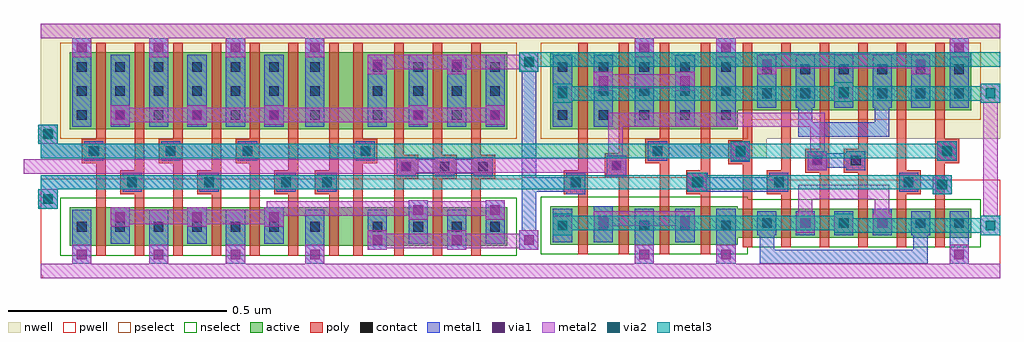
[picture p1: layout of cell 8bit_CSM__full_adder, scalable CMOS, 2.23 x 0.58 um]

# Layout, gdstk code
import gdstk
lib = gdstk.Library(unit=1e-6, precision=1e-11)
def R(c, l, rs):  # rectangles x0, y0, x1, y1
    for r in rs: c.add(gdstk.rectangle(r[:2], r[2:], *l))
def A(c, l, x, y, w, h, nx, ny, dx, dy):  # array of equal rectangles
    R(c, l, [(x+i*dx, y+j*dy, x+i*dx+w, y+j*dy+h) for i in range(nx) for j in range(ny)])
contact = (25, 0)
pwell = (41, 0)
nwell = (42, 0)
active = (43, 0)
pselect = (44, 0)
nselect = (45, 0)
poly = (46, 0)
metal1 = (49, 0)
via1 = (50, 0)
metal2 = (51, 0)
via2 = (61, 0)
metal3 = (62, 0)

c_8bit_csm__full_adder = lib.new_cell('8bit_CSM__full_adder')
A(c_8bit_csm__full_adder, contact, -0.572, -0.1787, 0.022, 0.022, 6, 2, 0.088, 0.2557)
A(c_8bit_csm__full_adder, contact, 0.198, -0.1787, 0.022, 0.022, 3, 2, 0.088, 0.2557)
A(c_8bit_csm__full_adder, contact, 0.528, -0.176, 0.022, 0.022, 5, 2, 0.0935, 0.253)
A(c_8bit_csm__full_adder, contact, 0.9955, -0.1705, 0.022, 0.022, 6, 2, 0.088, 0.297)
A(c_8bit_csm__full_adder, contact, -0.4565, -0.077, 0.022, 0.022, 3, 1, 0.176, 0)
A(c_8bit_csm__full_adder, contact, 0.1705, -0.0412, 0.022, 0.022, 3, 1, 0.088, 0)
A(c_8bit_csm__full_adder, contact, -0.5445, -0.0055, 0.022, 0.022, 3, 1, 0.176, 0)
A(c_8bit_csm__full_adder, contact, -0.0385, 0.077, 0.022, 0.022, 1, 3, 0, 0.055)
A(c_8bit_csm__full_adder, contact, 0.1045, 0.077, 0.022, 0.022, 1, 3, 0, 0.055)
A(c_8bit_csm__full_adder, contact, -0.572, 0.132, 0.022, 0.022, 6, 2, 0.088, 0.055)
A(c_8bit_csm__full_adder, contact, 0.198, 0.132, 0.022, 0.022, 3, 2, 0.088, 0.055)
A(c_8bit_csm__full_adder, contact, 0.528, 0.132, 0.022, 0.022, 5, 2, 0.0935, 0.055)
A(c_8bit_csm__full_adder, contact, 0.9955, 0.1815, 0.022, 0.022, 6, 1, 0.088, 0)
R(c_8bit_csm__full_adder, contact, [(-0.0385,-0.1787,-0.0165,-0.1567), (0.1045,-0.1787,0.1265,-0.1567), (-0.011,-0.077,0.011,-0.055), (0.5582,-0.077,0.5802,-0.055), (0.8387,-0.077,0.8607,-0.055), (1.023,-0.077,1.045,-0.055), (1.32,-0.077,1.342,-0.055), (0.6517,-0.0385,0.6737,-0.0165), (1.111,-0.0275,1.133,-0.0055), (1.199,-0.0275,1.221,-0.0055), (0.935,-0.0082,0.957,0.0137), (0.077,-0.0055,0.099,0.0165), (0.7452,-0.0055,0.7672,0.0165), (1.408,-0.0055,1.43,0.0165)])
A(c_8bit_csm__full_adder, pwell, -0.6545, -0.2777, 0.187, 0.22, 6, 1, 0.088, 0)
A(c_8bit_csm__full_adder, pwell, -0.627, -0.2777, 0.22, 0.22, 6, 1, 0.088, 0)
A(c_8bit_csm__full_adder, pwell, 0.055, -0.2777, 0.22, 0.22, 3, 1, 0.088, 0)
A(c_8bit_csm__full_adder, pwell, 0.1155, -0.2777, 0.187, 0.22, 3, 1, 0.088, 0)
A(c_8bit_csm__full_adder, pwell, 0.4455, -0.275, 0.187, 0.22, 5, 1, 0.0935, 0)
A(c_8bit_csm__full_adder, pwell, 0.4757, -0.275, 0.22, 0.22, 4, 1, 0.0935, 0)
A(c_8bit_csm__full_adder, pwell, -0.5582, -0.2585, 0.1732, 0.165, 4, 1, 0.088, 0)
A(c_8bit_csm__full_adder, pwell, 0.8525, -0.2585, 0.22, 0.198, 6, 1, 0.088, 0)
A(c_8bit_csm__full_adder, pwell, 0.913, -0.2585, 0.187, 0.198, 6, 1, 0.088, 0)
A(c_8bit_csm__full_adder, pwell, 1.1852, -0.253, 0.1732, 0.165, 3, 1, 0.088, 0)
A(c_8bit_csm__full_adder, pwell, 0.55, -0.2475, 0.1705, 0.165, 3, 1, 0.0935, 0)
A(c_8bit_csm__full_adder, pwell, 0.638, -0.2475, 0.176, 0.165, 3, 1, 0.0935, 0)
R(c_8bit_csm__full_adder, pwell, [(-0.6517,-0.286,1.54,-0.264), (-0.121,-0.2777,0.066,-0.0577), (-0.0935,-0.2777,0.1265,-0.0577), (-0.0385,-0.2777,0.1815,-0.0577), (0.022,-0.2777,0.209,-0.0577), (-0.6517,-0.275,1.54,-0.253), (-0.6407,-0.2585,-0.473,-0.0935), (-0.5527,-0.2585,-0.385,-0.0935), (-0.4675,-0.2585,-0.2997,-0.0935), (-0.3767,-0.2585,-0.209,-0.0935), (-0.2915,-0.2585,-0.1237,-0.0935), (-0.2887,-0.2585,-0.121,-0.0935), (-0.2062,-0.2585,-0.0385,-0.0935), (-0.2035,-0.2585,-0.0357,-0.0935), (-0.1182,-0.2585,0.0495,-0.0935), (-0.11,-0.2585,0.0577,-0.0935), (-0.0522,-0.2585,0.1402,-0.0935), (0.0302,-0.2585,0.198,-0.0935), (0.033,-0.2557,0.2062,-0.0907), (0.924,-0.253,1.0917,-0.088), (1.0092,-0.253,1.1825,-0.088), (1.188,-0.253,1.3557,-0.088), (1.276,-0.253,1.4437,-0.088), (0.2997,-0.2502,0.4702,-0.0852), (0.451,-0.2475,0.627,-0.0825), (0.5445,-0.2475,0.715,-0.0825), (1.0972,-0.242,1.2705,-0.077), (1.1027,-0.242,1.2705,-0.077), (0.121,-0.2392,0.2887,-0.0742), (0.1265,-0.2392,0.2942,-0.0742), (0.209,-0.2392,0.3767,-0.0742), (0.2145,-0.2392,0.3822,-0.0742), (1.0092,-0.2365,1.1797,-0.0715), (0.8305,-0.231,1.0037,-0.066), (0.9212,-0.231,1.0945,-0.066)])
A(c_8bit_csm__full_adder, nwell, -0.6545, -0.011, 0.187, 0.308, 6, 1, 0.088, 0)
A(c_8bit_csm__full_adder, nwell, -0.627, -0.011, 0.22, 0.308, 6, 1, 0.088, 0)
A(c_8bit_csm__full_adder, nwell, 0.055, -0.011, 0.22, 0.308, 3, 1, 0.088, 0)
A(c_8bit_csm__full_adder, nwell, 0.1155, -0.011, 0.187, 0.308, 3, 1, 0.088, 0)
A(c_8bit_csm__full_adder, nwell, 0.4455, -0.011, 0.187, 0.308, 5, 1, 0.0935, 0)
A(c_8bit_csm__full_adder, nwell, 0.4757, -0.011, 0.22, 0.308, 4, 1, 0.0935, 0)
A(c_8bit_csm__full_adder, nwell, 0.8525, 0.033, 0.22, 0.264, 6, 1, 0.088, 0)
A(c_8bit_csm__full_adder, nwell, 0.913, 0.033, 0.187, 0.264, 6, 1, 0.088, 0)
A(c_8bit_csm__full_adder, nwell, 0.638, 0.055, 0.176, 0.165, 3, 1, 0.0935, 0)
A(c_8bit_csm__full_adder, nwell, 1.0972, 0.0825, 0.1732, 0.165, 4, 1, 0.088, 0)
R(c_8bit_csm__full_adder, nwell, [(-0.121,-0.011,0.066,0.297), (-0.0935,-0.011,0.1265,0.297), (-0.0385,-0.011,0.1815,0.297), (0.022,-0.011,0.209,0.297), (-0.6407,0.044,-0.473,0.209), (-0.561,0.044,-0.3932,0.209), (-0.5527,0.044,-0.385,0.209), (-0.473,0.044,-0.3052,0.209), (-0.4647,0.044,-0.297,0.209), (-0.385,0.044,-0.2172,0.209), (-0.3767,0.044,-0.209,0.209), (-0.2887,0.044,-0.121,0.209), (-0.209,0.044,-0.0412,0.209), (-0.2007,0.044,-0.033,0.209), (0.1237,0.044,0.2915,0.209), (0.1292,0.044,0.297,0.209), (0.2117,0.044,0.3795,0.209), (0.2145,0.044,0.3822,0.209), (0.2997,0.044,0.4675,0.209), (-0.2942,0.0495,-0.1265,0.2145), (0.55,0.055,0.7205,0.22), (0.649,0.055,0.814,0.22), (0.7425,0.055,0.9075,0.22), (0.8305,0.055,1.0037,0.22), (-0.1182,0.0605,0.0495,0.2255), (-0.11,0.0605,0.0577,0.2255), (0.0275,0.0605,0.1952,0.2255), (0.033,0.0605,0.2062,0.2255), (0.451,0.0605,0.627,0.2255), (0.5445,0.0605,0.715,0.2255), (-0.0522,0.066,0.1402,0.231), (0.9212,0.0825,1.0945,0.2475), (0.924,0.0825,1.0917,0.2475), (1.0092,0.0825,1.177,0.2475), (1.012,0.0825,1.1797,0.2475), (1.188,0.0825,1.3557,0.2475), (1.2787,0.0825,1.4465,0.2475), (1.0972,0.099,1.2677,0.264)])
A(c_8bit_csm__full_adder, active, -0.5885, -0.2117, 0.055, 0.088, 6, 1, 0.088, 0)
A(c_8bit_csm__full_adder, active, -0.561, -0.2117, 0.088, 0.088, 6, 1, 0.088, 0)
A(c_8bit_csm__full_adder, active, 0.121, -0.2117, 0.088, 0.088, 3, 1, 0.088, 0)
A(c_8bit_csm__full_adder, active, 0.1815, -0.2117, 0.055, 0.088, 3, 1, 0.088, 0)
A(c_8bit_csm__full_adder, active, 0.5115, -0.209, 0.055, 0.088, 5, 1, 0.0935, 0)
A(c_8bit_csm__full_adder, active, 0.5417, -0.209, 0.088, 0.088, 4, 1, 0.0935, 0)
A(c_8bit_csm__full_adder, active, -0.4922, -0.1925, 0.0412, 0.033, 4, 1, 0.088, 0)
A(c_8bit_csm__full_adder, active, 0.9185, -0.1925, 0.088, 0.066, 6, 1, 0.088, 0)
A(c_8bit_csm__full_adder, active, 0.979, -0.1925, 0.055, 0.066, 6, 1, 0.088, 0)
A(c_8bit_csm__full_adder, active, 1.2512, -0.187, 0.0412, 0.033, 3, 1, 0.088, 0)
A(c_8bit_csm__full_adder, active, 0.616, -0.1815, 0.0385, 0.033, 3, 1, 0.0935, 0)
A(c_8bit_csm__full_adder, active, 0.704, -0.1815, 0.044, 0.033, 3, 2, 0.0935, 0.3025)
A(c_8bit_csm__full_adder, active, -0.5885, 0.055, 0.055, 0.176, 6, 1, 0.088, 0)
A(c_8bit_csm__full_adder, active, -0.561, 0.055, 0.088, 0.176, 6, 1, 0.088, 0)
A(c_8bit_csm__full_adder, active, 0.121, 0.055, 0.088, 0.176, 3, 1, 0.088, 0)
A(c_8bit_csm__full_adder, active, 0.1815, 0.055, 0.055, 0.176, 3, 1, 0.088, 0)
A(c_8bit_csm__full_adder, active, 0.5115, 0.055, 0.055, 0.176, 5, 1, 0.0935, 0)
A(c_8bit_csm__full_adder, active, 0.5417, 0.055, 0.088, 0.176, 4, 1, 0.0935, 0)
A(c_8bit_csm__full_adder, active, 0.9185, 0.099, 0.088, 0.132, 6, 1, 0.088, 0)
A(c_8bit_csm__full_adder, active, 0.979, 0.099, 0.055, 0.132, 6, 1, 0.088, 0)
A(c_8bit_csm__full_adder, active, 1.1632, 0.1485, 0.0412, 0.033, 4, 1, 0.088, 0)
R(c_8bit_csm__full_adder, active, [(-0.055,-0.2117,0,-0.1237), (-0.0275,-0.2117,0.0605,-0.1237), (0.0275,-0.2117,0.1155,-0.1237), (0.088,-0.2117,0.143,-0.1237), (-0.5747,-0.1925,-0.539,-0.1595), (-0.4867,-0.1925,-0.451,-0.1595), (-0.4015,-0.1925,-0.3657,-0.1595), (-0.3107,-0.1925,-0.275,-0.1595), (-0.2255,-0.1925,-0.1897,-0.1595), (-0.2227,-0.1925,-0.187,-0.1595), (-0.1402,-0.1925,-0.1045,-0.1595), (-0.1375,-0.1925,-0.1017,-0.1595), (-0.0522,-0.1925,-0.0165,-0.1595), (-0.044,-0.1925,-0.0082,-0.1595), (0.0137,-0.1925,0.0742,-0.1595), (0.0962,-0.1925,0.132,-0.1595), (0.099,-0.1897,0.1402,-0.1567), (0.99,-0.187,1.0257,-0.154), (1.0752,-0.187,1.1165,-0.154), (1.254,-0.187,1.2897,-0.154), (1.342,-0.187,1.3777,-0.154), (0.3657,-0.1842,0.4042,-0.1512), (0.517,-0.1815,0.561,-0.1485), (0.6105,-0.1815,0.649,-0.1485), (1.1632,-0.176,1.2045,-0.143), (1.1687,-0.176,1.2045,-0.143), (0.187,-0.1732,0.2227,-0.1402), (0.1925,-0.1732,0.2282,-0.1402), (0.275,-0.1732,0.3107,-0.1402), (0.2805,-0.1732,0.3162,-0.1402), (1.0752,-0.1705,1.1137,-0.1375), (0.8965,-0.165,0.9377,-0.132), (0.9872,-0.165,1.0285,-0.132), (-0.055,0.055,0,0.231), (-0.0275,0.055,0.0605,0.231), (0.0275,0.055,0.1155,0.231), (0.088,0.055,0.143,0.231), (-0.5747,0.11,-0.539,0.143), (-0.495,0.11,-0.4592,0.143), (-0.4867,0.11,-0.451,0.143), (-0.407,0.11,-0.3712,0.143), (-0.3987,0.11,-0.363,0.143), (-0.319,0.11,-0.2833,0.143), (-0.3107,0.11,-0.275,0.143), (-0.2227,0.11,-0.187,0.143), (-0.143,0.11,-0.1072,0.143), (-0.1347,0.11,-0.099,0.143), (0.1897,0.11,0.2255,0.143), (0.1952,0.11,0.231,0.143), (0.2777,0.11,0.3135,0.143), (0.2805,0.11,0.3162,0.143), (0.3657,0.11,0.4015,0.143), (-0.2282,0.1155,-0.1925,0.1485), (0.616,0.121,0.6545,0.154), (0.715,0.121,0.748,0.154), (0.8085,0.121,0.8415,0.154), (0.8965,0.121,0.9377,0.154), (-0.0522,0.1265,-0.0165,0.1595), (-0.044,0.1265,-0.0082,0.1595), (0.0935,0.1265,0.1292,0.1595), (0.099,0.1265,0.1402,0.1595), (0.517,0.1265,0.561,0.1595), (0.6105,0.1265,0.649,0.1595), (0.0137,0.132,0.0742,0.165), (0.9872,0.1485,1.0285,0.1815), (0.99,0.1485,1.0257,0.1815), (1.0752,0.1485,1.111,0.1815), (1.078,0.1485,1.1137,0.1815), (1.254,0.1485,1.2897,0.1815), (1.3447,0.1485,1.3805,0.1815), (1.1632,0.165,1.2017,0.198)])
A(c_8bit_csm__full_adder, pselect, -0.6105, 0.033, 0.099, 0.22, 6, 1, 0.088, 0)
A(c_8bit_csm__full_adder, pselect, -0.583, 0.033, 0.132, 0.22, 6, 1, 0.088, 0)
A(c_8bit_csm__full_adder, pselect, 0.099, 0.033, 0.132, 0.22, 3, 1, 0.088, 0)
A(c_8bit_csm__full_adder, pselect, 0.1595, 0.033, 0.099, 0.22, 3, 1, 0.088, 0)
A(c_8bit_csm__full_adder, pselect, 0.4895, 0.033, 0.099, 0.22, 5, 1, 0.0935, 0)
A(c_8bit_csm__full_adder, pselect, 0.5197, 0.033, 0.132, 0.22, 4, 1, 0.0935, 0)
A(c_8bit_csm__full_adder, pselect, 0.8965, 0.077, 0.132, 0.176, 6, 1, 0.088, 0)
A(c_8bit_csm__full_adder, pselect, 0.957, 0.077, 0.099, 0.176, 6, 1, 0.088, 0)
A(c_8bit_csm__full_adder, pselect, 0.682, 0.099, 0.088, 0.077, 3, 1, 0.0935, 0)
A(c_8bit_csm__full_adder, pselect, 1.1412, 0.1265, 0.0852, 0.077, 4, 1, 0.088, 0)
R(c_8bit_csm__full_adder, pselect, [(-0.077,0.033,0.022,0.253), (-0.0495,0.033,0.0825,0.253), (0.0055,0.033,0.1375,0.253), (0.066,0.033,0.165,0.253), (-0.5968,0.088,-0.517,0.165), (-0.517,0.088,-0.4372,0.165), (-0.5087,0.088,-0.429,0.165), (-0.429,0.088,-0.3492,0.165), (-0.4207,0.088,-0.341,0.165), (-0.341,0.088,-0.2612,0.165), (-0.3327,0.088,-0.253,0.165), (-0.2447,0.088,-0.165,0.165), (-0.165,0.088,-0.0852,0.165), (-0.1567,0.088,-0.077,0.165), (0.1677,0.088,0.2475,0.165), (0.1732,0.088,0.253,0.165), (0.2557,0.088,0.3355,0.165), (0.2585,0.088,0.3382,0.165), (0.3437,0.088,0.4235,0.165), (-0.2502,0.0935,-0.1705,0.1705), (0.594,0.099,0.6765,0.176), (0.693,0.099,0.77,0.176), (0.7865,0.099,0.8635,0.176), (0.8745,0.099,0.9597,0.176), (-0.0742,0.1045,0.0055,0.1815), (-0.066,0.1045,0.0137,0.1815), (0.0715,0.1045,0.1512,0.1815), (0.077,0.1045,0.1622,0.1815), (0.495,0.1045,0.583,0.1815), (0.5885,0.1045,0.671,0.1815), (-0.0082,0.11,0.0962,0.187), (0.9652,0.1265,1.0505,0.2035), (0.968,0.1265,1.0477,0.2035), (1.0532,0.1265,1.133,0.2035), (1.056,0.1265,1.1357,0.2035), (1.232,0.1265,1.3117,0.2035), (1.3227,0.1265,1.4025,0.2035), (1.1412,0.143,1.2237,0.22)])
A(c_8bit_csm__full_adder, nselect, -0.6105, -0.2337, 0.099, 0.132, 6, 1, 0.088, 0)
A(c_8bit_csm__full_adder, nselect, -0.583, -0.2337, 0.132, 0.132, 6, 1, 0.088, 0)
A(c_8bit_csm__full_adder, nselect, 0.099, -0.2337, 0.132, 0.132, 3, 1, 0.088, 0)
A(c_8bit_csm__full_adder, nselect, 0.1595, -0.2337, 0.099, 0.132, 3, 1, 0.088, 0)
A(c_8bit_csm__full_adder, nselect, 0.4895, -0.231, 0.099, 0.132, 5, 1, 0.0935, 0)
A(c_8bit_csm__full_adder, nselect, 0.5197, -0.231, 0.132, 0.132, 4, 1, 0.0935, 0)
A(c_8bit_csm__full_adder, nselect, -0.5142, -0.2145, 0.0852, 0.077, 4, 1, 0.088, 0)
A(c_8bit_csm__full_adder, nselect, 0.8965, -0.2145, 0.132, 0.11, 6, 1, 0.088, 0)
A(c_8bit_csm__full_adder, nselect, 0.957, -0.2145, 0.099, 0.11, 6, 1, 0.088, 0)
A(c_8bit_csm__full_adder, nselect, 1.2292, -0.209, 0.0852, 0.077, 3, 1, 0.088, 0)
A(c_8bit_csm__full_adder, nselect, 0.594, -0.2035, 0.0825, 0.077, 3, 1, 0.0935, 0)
A(c_8bit_csm__full_adder, nselect, 0.682, -0.2035, 0.088, 0.077, 3, 1, 0.0935, 0)
R(c_8bit_csm__full_adder, nselect, [(-0.077,-0.2337,0.022,-0.1017), (-0.0495,-0.2337,0.0825,-0.1017), (0.0055,-0.2337,0.1375,-0.1017), (0.066,-0.2337,0.165,-0.1017), (-0.5968,-0.2145,-0.517,-0.1375), (-0.5087,-0.2145,-0.429,-0.1375), (-0.4235,-0.2145,-0.3437,-0.1375), (-0.3327,-0.2145,-0.253,-0.1375), (-0.2475,-0.2145,-0.1677,-0.1375), (-0.2447,-0.2145,-0.165,-0.1375), (-0.1622,-0.2145,-0.0825,-0.1375), (-0.1595,-0.2145,-0.0797,-0.1375), (-0.0742,-0.2145,0.0055,-0.1375), (-0.066,-0.2145,0.0137,-0.1375), (-0.0082,-0.2145,0.0962,-0.1375), (0.0742,-0.2145,0.154,-0.1375), (0.077,-0.2117,0.1622,-0.1347), (0.968,-0.209,1.0477,-0.132), (1.0532,-0.209,1.1385,-0.132), (1.232,-0.209,1.3117,-0.132), (1.32,-0.209,1.3997,-0.132), (0.3437,-0.2062,0.4262,-0.1292), (0.495,-0.2035,0.583,-0.1265), (0.5885,-0.2035,0.671,-0.1265), (1.1412,-0.198,1.2265,-0.121), (1.1467,-0.198,1.2265,-0.121), (0.165,-0.1952,0.2447,-0.1182), (0.1705,-0.1952,0.2502,-0.1182), (0.253,-0.1952,0.3327,-0.1182), (0.2585,-0.1952,0.3382,-0.1182), (1.0532,-0.1925,1.1357,-0.1155), (0.8745,-0.187,0.9597,-0.11), (0.9652,-0.187,1.0505,-0.11)])
A(c_8bit_csm__full_adder, poly, -0.528, -0.2337, 0.022, 0.132, 6, 1, 0.088, 0)
A(c_8bit_csm__full_adder, poly, 0.154, -0.2337, 0.022, 0.132, 3, 1, 0.088, 0)
A(c_8bit_csm__full_adder, poly, 0.5747, -0.231, 0.022, 0.132, 4, 1, 0.0935, 0)
A(c_8bit_csm__full_adder, poly, 0.9515, -0.2145, 0.022, 0.11, 6, 1, 0.088, 0)
A(c_8bit_csm__full_adder, poly, -0.528, -0.1127, 0.022, 0.1237, 3, 1, 0.176, 0)
A(c_8bit_csm__full_adder, poly, -0.473, -0.0935, 0.055, 0.055, 3, 1, 0.176, 0)
A(c_8bit_csm__full_adder, poly, 0.154, -0.0577, 0.055, 0.055, 3, 1, 0.088, 0)
A(c_8bit_csm__full_adder, poly, -0.561, -0.022, 0.055, 0.055, 3, 1, 0.176, 0)
A(c_8bit_csm__full_adder, poly, -0.55, -0.011, 0.044, 0.022, 3, 1, 0.176, 0)
A(c_8bit_csm__full_adder, poly, -0.528, -0.011, 0.022, 0.055, 3, 1, 0.176, 0)
A(c_8bit_csm__full_adder, poly, -0.528, 0.033, 0.022, 0.22, 6, 1, 0.088, 0)
A(c_8bit_csm__full_adder, poly, 0.154, 0.033, 0.022, 0.22, 3, 1, 0.088, 0)
A(c_8bit_csm__full_adder, poly, 0.5747, 0.033, 0.022, 0.22, 4, 1, 0.0935, 0)
A(c_8bit_csm__full_adder, poly, 0.9515, 0.077, 0.022, 0.176, 6, 1, 0.088, 0)
R(c_8bit_csm__full_adder, poly, [(0.0055,-0.2337,0.0275,-0.1017), (0.0605,-0.2337,0.0825,-0.1017), (0.9515,-0.1155,0.9735,0.011), (1.0395,-0.1155,1.0615,-0.055), (1.1275,-0.1155,1.1495,-0.0055), (1.2155,-0.1155,1.2375,-0.0055), (1.3035,-0.1155,1.3255,-0.0605), (1.3915,-0.1155,1.4135,0.011), (-0.44,-0.1127,-0.418,-0.055), (-0.264,-0.1127,-0.242,-0.055), (-0.088,-0.1127,-0.066,-0.0577), (0.0055,-0.1127,0.0275,-0.055), (0.0605,-0.1127,0.0825,0.011), (0.154,-0.1127,0.176,-0.0165), (0.242,-0.1127,0.264,-0.0137), (0.33,-0.1127,0.352,-0.0165), (0.5747,-0.11,0.5968,-0.055), (0.6682,-0.11,0.6902,-0.0165), (0.7617,-0.11,0.7837,0.0165), (0.8552,-0.11,0.8772,-0.055), (-0.0275,-0.0935,0.0275,-0.0385), (0.5417,-0.0935,0.5968,-0.0385), (0.8222,-0.0935,0.8772,-0.0385), (1.0065,-0.0935,1.0615,-0.0385), (1.3035,-0.0935,1.3585,-0.0385), (1.3035,-0.0825,1.3447,-0.0605), (1.3035,-0.0825,1.3255,0.088), (-0.11,-0.0797,-0.066,-0.0577), (-0.088,-0.0797,-0.066,0.044), (-0.4565,-0.077,-0.418,-0.055), (-0.44,-0.077,-0.418,0.044), (-0.286,-0.077,-0.242,-0.055), (-0.264,-0.077,-0.242,0.044), (-0.0165,-0.077,0.0275,-0.055), (0.0055,-0.077,0.0275,0.044), (0.5555,-0.077,0.5968,-0.055), (0.5747,-0.077,0.5968,0.044), (0.8332,-0.077,0.8772,-0.055), (0.8552,-0.077,0.8772,0.044), (1.0175,-0.077,1.0615,-0.055), (1.0395,-0.077,1.0615,0.088), (0.6352,-0.055,0.6902,0), (1.0945,-0.044,1.1495,0.011), (1.1825,-0.044,1.2375,0.011), (0.154,-0.0385,0.176,0.044), (0.154,-0.0385,0.187,-0.0165), (0.33,-0.0385,0.352,0.044), (0.33,-0.0385,0.374,-0.0165), (0.6462,-0.0385,0.6902,-0.0165), (0.6682,-0.0385,0.6902,0.044), (0.242,-0.0357,0.264,0.044), (0.242,-0.0357,0.286,-0.0137), (1.1055,-0.0275,1.1495,-0.0055), (1.1275,-0.0275,1.1495,0.088), (1.1962,-0.0275,1.2375,-0.0055), (1.2155,-0.0275,1.2375,0.088), (0.9185,-0.0247,0.9735,0.0302), (0.0605,-0.022,0.1155,0.033), (0.7287,-0.022,0.7837,0.033), (1.3915,-0.022,1.4465,0.033), (0.0605,-0.011,0.1045,0.011), (0.0605,-0.011,0.0825,0.044), (0.9322,-0.011,0.9735,0.011), (0.9515,-0.011,0.9735,0.088), (1.3915,-0.011,1.4135,0.088), (1.3915,-0.011,1.4272,0.011), (0.7507,-0.0055,0.7837,0.0165), (0.7617,-0.0055,0.7837,0.044), (0.0055,0.033,0.0275,0.253), (0.0605,0.033,0.0825,0.253)])
A(c_8bit_csm__full_adder, metal1, -0.583, -0.253, 0.044, 0.044, 3, 2, 0.176, 0.473)
A(c_8bit_csm__full_adder, metal1, -0.583, -0.253, 0.044, 0.1045, 3, 1, 0.176, 0)
A(c_8bit_csm__full_adder, metal1, -0.583, -0.2062, 0.044, 0.077, 6, 1, 0.088, 0)
A(c_8bit_csm__full_adder, metal1, 0.187, -0.2062, 0.044, 0.077, 3, 1, 0.088, 0)
A(c_8bit_csm__full_adder, metal1, 0.517, -0.2035, 0.044, 0.077, 5, 1, 0.0935, 0)
A(c_8bit_csm__full_adder, metal1, 0.9845, -0.187, 0.044, 0.055, 6, 1, 0.088, 0)
A(c_8bit_csm__full_adder, metal1, -0.495, -0.1677, 0.044, 0.044, 3, 2, 0.176, 0.2337)
A(c_8bit_csm__full_adder, metal1, -0.4675, -0.088, 0.044, 0.044, 3, 1, 0.176, 0)
A(c_8bit_csm__full_adder, metal1, 0.1595, -0.0522, 0.044, 0.044, 3, 1, 0.088, 0)
A(c_8bit_csm__full_adder, metal1, -0.5555, -0.0165, 0.044, 0.044, 3, 1, 0.176, 0)
A(c_8bit_csm__full_adder, metal1, -0.583, 0.0605, 0.044, 0.165, 6, 1, 0.088, 0)
A(c_8bit_csm__full_adder, metal1, 0.187, 0.0605, 0.044, 0.165, 3, 1, 0.088, 0)
A(c_8bit_csm__full_adder, metal1, 0.517, 0.0605, 0.044, 0.165, 5, 1, 0.0935, 0)
A(c_8bit_csm__full_adder, metal1, 0.9845, 0.1045, 0.044, 0.121, 6, 1, 0.088, 0)
A(c_8bit_csm__full_adder, metal1, -0.5775, 0.11, 0.033, 0.1485, 3, 1, 0.176, 0)
R(c_8bit_csm__full_adder, metal1, [(-0.0495,-0.253,-0.0055,-0.209), (-0.0495,-0.253,-0.0055,-0.132), (0.704,-0.253,0.748,-0.209), (0.891,-0.253,0.935,-0.209), (0.99,-0.253,1.023,-0.143), (0.99,-0.253,1.375,-0.22), (1.342,-0.253,1.375,-0.143), (1.4245,-0.253,1.4685,-0.209), (0.704,-0.242,0.748,-0.143), (0.891,-0.242,0.935,-0.143), (0.0935,-0.22,0.1375,-0.176), (0.275,-0.22,0.319,-0.176), (0.44,-0.22,0.484,-0.176), (1.4245,-0.22,1.4685,-0.1595), (0.275,-0.2172,0.319,-0.1457), (0.0935,-0.2145,0.1375,-0.1457), (0.4455,-0.2145,0.4785,-0.055), (-0.0495,-0.2062,-0.0055,-0.1292), (0.0935,-0.2062,0.1375,-0.1292), (-0.495,-0.198,-0.451,-0.1237), (-0.319,-0.198,-0.275,-0.1237), (-0.143,-0.198,-0.099,-0.1265), (0.517,-0.1925,0.5555,-0.1595), (0.363,-0.187,0.407,-0.11), (0.517,-0.187,0.561,-0.143), (0.6105,-0.187,0.6545,-0.121), (0.7975,-0.187,0.8415,-0.1265), (1.0725,-0.1815,1.1165,-0.1375), (1.0725,-0.1815,1.1165,-0.132), (1.1605,-0.1815,1.2045,-0.1375), (1.1605,-0.1815,1.2045,-0.1375), (1.2485,-0.1815,1.2925,-0.1375), (1.2485,-0.1815,1.2925,-0.1265), (0.187,-0.1787,0.231,-0.1127), (0.6105,-0.176,0.6545,-0.132), (0.7975,-0.176,0.8415,-0.132), (0.187,-0.1512,0.231,-0.1072), (0.363,-0.1512,0.407,-0.1072), (-0.66,-0.1265,-0.616,-0.0825), (-0.6545,-0.121,-0.6215,-0.0495), (0.5472,-0.0935,0.5912,-0.044), (1.386,-0.0935,1.43,-0.0495), (-0.1155,-0.088,-0.0715,-0.044), (-0.022,-0.088,0.022,-0.044), (0.4455,-0.088,0.4785,0.2255), (0.4455,-0.088,0.55,-0.055), (0.517,-0.088,0.5857,-0.055), (0.5472,-0.088,0.5912,-0.044), (0.825,-0.088,0.869,-0.044), (0.825,-0.088,0.8717,-0.044), (0.8277,-0.088,0.8717,-0.044), (0.8332,-0.088,1.0505,-0.055), (1.012,-0.088,1.056,-0.044), (1.309,-0.088,1.353,-0.044), (-0.6545,-0.0825,-0.4345,-0.0495), (-0.462,-0.0825,-0.253,-0.0495), (-0.286,-0.0825,-0.077,-0.0495), (-0.11,-0.0825,0.0165,-0.0495), (1.331,-0.0825,1.4162,-0.0495), (0.1595,-0.0522,0.2035,-0.0082), (0.1595,-0.0522,0.2035,-0.0082), (0.6407,-0.0495,0.6847,-0.0055), (0.6407,-0.0495,0.6847,-0.0055), (0.6407,-0.0495,0.6847,-0.0055), (0.165,-0.0467,0.198,-0.0137), (0.165,-0.0467,0.198,-0.0137), (0.165,-0.0467,0.286,-0.0137), (0.253,-0.0467,0.374,-0.0137), (1.1,-0.0385,1.144,0.0055), (1.1,-0.0385,1.144,0.0055), (1.1,-0.0385,1.144,0.0055), (1.188,-0.0385,1.232,0.0055), (1.1055,-0.033,1.2265,0), (0.924,-0.0192,0.968,0.0247), (0.066,-0.0165,0.11,0.0275), (0.7342,-0.0165,0.7782,0.0275), (0.924,-0.0165,0.968,0.0275), (0.924,-0.0165,0.968,0.0275), (1.397,-0.0165,1.441,0.0275), (1.397,-0.0165,1.441,0.0275), (1.397,-0.0165,1.441,0.0275), (1.397,-0.0165,1.441,0.0275), (-0.6545,-0.011,-0.6215,0.0605), (-0.6545,-0.011,-0.517,0.022), (-0.55,-0.011,-0.341,0.022), (-0.374,-0.011,-0.165,0.022), (-0.198,-0.011,0.1045,0.022), (0.7397,-0.011,0.9625,0.022), (1.4025,-0.011,1.4355,0.022), (-0.66,0.022,-0.616,0.066), (1.078,0.0385,1.287,0.0715), (1.078,0.0385,1.111,0.1815), (1.254,0.0385,1.287,0.1815), (-0.0495,0.0605,-0.0055,0.2255), (0.0935,0.0605,0.1375,0.2255), (0.187,0.066,0.231,0.11), (0.363,0.066,0.407,0.11), (-0.4895,0.0715,-0.4565,0.143), (0.1925,0.0715,0.2255,0.143), (-0.1375,0.077,-0.1045,0.143), (0.3685,0.077,0.4015,0.143), (-0.3135,0.0825,-0.2805,0.143), (0.517,0.1155,0.561,0.1595), (1.1605,0.1182,1.2045,0.1622), (-0.0495,0.121,-0.0055,0.264), (0.0935,0.121,0.1375,0.22), (0.517,0.121,0.561,0.165), (0.6105,0.121,0.6545,0.198), (0.6105,0.121,0.6545,0.2035), (0.7975,0.121,0.8415,0.198), (0.891,0.121,0.935,0.1925), (1.166,0.121,1.199,0.1815), (0.7095,0.1265,0.7425,0.253), (0.8965,0.1265,0.9295,0.253), (0.6105,0.143,0.6545,0.187), (0.7975,0.143,0.8415,0.187), (0.9845,0.143,1.0285,0.22), (1.3365,0.143,1.3805,0.2255), (1.4245,0.143,1.4685,0.2585), (0.0935,0.1815,0.1375,0.2255), (0.275,0.1815,0.319,0.2255), (0.2805,0.1815,0.3135,0.2145), (0.9845,0.1815,1.0285,0.2255), (1.3365,0.1815,1.3805,0.2255), (0.44,0.187,0.484,0.231), (-0.0495,0.22,-0.0055,0.264), (0.704,0.22,0.748,0.264), (0.891,0.22,0.935,0.264), (1.4245,0.22,1.4685,0.264)])
A(c_8bit_csm__full_adder, via1, -0.572, -0.242, 0.022, 0.022, 3, 2, 0.176, 0.473)
A(c_8bit_csm__full_adder, via1, 1.0835, -0.1705, 0.022, 0.022, 3, 1, 0.088, 0)
A(c_8bit_csm__full_adder, via1, -0.484, -0.1567, 0.022, 0.022, 3, 2, 0.176, 0.2337)
R(c_8bit_csm__full_adder, via1, [(-0.0385,-0.242,-0.0165,-0.22), (0.715,-0.242,0.737,-0.22), (0.902,-0.242,0.924,-0.22), (1.4355,-0.242,1.4575,-0.22), (0.1045,-0.209,0.1265,-0.187), (0.286,-0.209,0.308,-0.187), (0.451,-0.209,0.473,-0.187), (0.528,-0.176,0.55,-0.154), (0.6215,-0.165,0.6435,-0.143), (0.8085,-0.165,0.8305,-0.143), (0.198,-0.1402,0.22,-0.1182), (0.374,-0.1402,0.396,-0.1182), (-0.649,-0.1155,-0.627,-0.0935), (1.397,-0.0825,1.419,-0.0605), (0.836,-0.077,0.858,-0.055), (0.1705,-0.0412,0.1925,-0.0192), (0.1705,-0.0412,0.1925,-0.0192), (0.6517,-0.0385,0.6737,-0.0165), (1.111,-0.0275,1.133,-0.0055), (0.935,-0.0055,0.957,0.0165), (1.408,-0.0055,1.43,0.0165), (1.408,-0.0055,1.43,0.0165), (-0.649,0.033,-0.627,0.055), (0.198,0.077,0.22,0.099), (0.374,0.077,0.396,0.099), (0.528,0.1265,0.55,0.1485), (1.1715,0.1292,1.1935,0.1512), (0.6215,0.154,0.6435,0.176), (0.8085,0.154,0.8305,0.176), (0.1045,0.1925,0.1265,0.2145), (0.286,0.1925,0.308,0.2145), (0.9955,0.1925,1.0175,0.2145), (1.3475,0.1925,1.3695,0.2145), (0.451,0.198,0.473,0.22), (-0.0385,0.231,-0.0165,0.253), (0.715,0.231,0.737,0.253), (0.902,0.231,0.924,0.253), (1.4355,0.231,1.4575,0.253)])
A(c_8bit_csm__full_adder, metal2, -0.572, -0.286, 0.033, 0.0715, 4, 1, 0.176, 0)
A(c_8bit_csm__full_adder, metal2, -0.572, -0.286, 0.209, 0.033, 3, 1, 0.176, 0)
A(c_8bit_csm__full_adder, metal2, -0.583, -0.253, 0.044, 0.044, 3, 2, 0.176, 0.473)
A(c_8bit_csm__full_adder, metal2, -0.495, -0.1677, 0.044, 0.044, 3, 2, 0.176, 0.2337)
A(c_8bit_csm__full_adder, metal2, -0.5775, 0.2255, 0.033, 0.0715, 3, 1, 0.176, 0)
R(c_8bit_csm__full_adder, metal2, [(-0.6545,-0.286,-0.539,-0.253), (-0.044,-0.286,0.4785,-0.253), (0.4455,-0.286,0.6875,-0.253), (0.6545,-0.286,0.7425,-0.253), (0.7095,-0.286,0.9295,-0.253), (0.8965,-0.286,1.2265,-0.253), (1.1935,-0.286,1.375,-0.253), (1.342,-0.286,1.463,-0.253), (1.43,-0.286,1.54,-0.253), (0.7095,-0.2695,0.7425,-0.242), (0.8965,-0.2695,0.9295,-0.2365), (1.43,-0.2695,1.463,-0.22), (-0.0495,-0.253,-0.0055,-0.209), (0.704,-0.253,0.748,-0.209), (0.891,-0.253,0.935,-0.209), (1.4245,-0.253,1.4685,-0.209), (0.0935,-0.22,0.1375,-0.176), (0.275,-0.22,0.319,-0.176), (0.44,-0.22,0.484,-0.176), (0.099,-0.2172,0.3135,-0.1842), (0.2805,-0.2172,0.3135,-0.1787), (0.2805,-0.2172,0.473,-0.1842), (0.44,-0.2172,0.4757,-0.1842), (0.44,-0.2172,0.473,-0.1815), (0.517,-0.187,0.561,-0.143), (0.517,-0.187,0.561,-0.143), (0.517,-0.187,0.561,-0.143), (1.496,-0.187,1.54,-0.143), (1.0725,-0.1815,1.1165,-0.1375), (1.1605,-0.1815,1.2045,-0.1375), (1.1605,-0.1815,1.2045,-0.1375), (1.1605,-0.1815,1.2045,-0.1375), (1.2485,-0.1815,1.2925,-0.1375), (1.5015,-0.1815,1.5345,0.0137), (0.6105,-0.176,0.6545,-0.132), (0.7975,-0.176,0.8415,-0.132), (1.078,-0.176,1.111,-0.0715), (1.254,-0.176,1.287,-0.0715), (-0.1375,-0.165,-0.1045,-0.1292), (0.616,-0.165,0.836,-0.132), (-0.4895,-0.1622,-0.2805,-0.1292), (-0.3135,-0.1622,-0.1045,-0.1292), (-0.1375,-0.1622,-0.1045,-0.11), (0.187,-0.1512,0.231,-0.1072), (0.363,-0.1512,0.407,-0.1072), (0.3685,-0.1485,0.4015,-0.11), (-0.1375,-0.143,0.2255,-0.11), (0.1925,-0.143,0.4015,-0.11), (-0.66,-0.1265,-0.616,-0.0825), (-0.66,-0.1265,-0.616,-0.0825), (-0.66,-0.1265,-0.616,-0.0825), (1.078,-0.1045,1.287,-0.0715), (1.386,-0.0935,1.43,-0.0495), (1.386,-0.0935,1.43,-0.0495), (1.386,-0.0935,1.43,-0.0495), (0.825,-0.088,0.869,-0.044), (0.825,-0.088,0.869,-0.044), (0.825,-0.088,0.869,-0.044), (1.3942,-0.0825,1.4272,-0.0495), (1.4107,-0.0825,1.4162,-0.0495), (0.638,-0.055,0.6847,-0.011), (0.1595,-0.0522,0.2035,-0.0082), (0.1595,-0.0522,0.2035,-0.0082), (0.6407,-0.0495,0.6847,-0.0055), (0.6435,-0.0495,0.6765,0.0935), (-0.693,-0.0467,0.198,-0.0137), (0.165,-0.044,0.5445,-0.011), (0.5087,-0.044,0.5445,-0.011), (0.5115,-0.044,0.5445,-0.011), (0.5115,-0.044,0.6847,-0.011), (1.1,-0.0385,1.144,0.0055), (1.1055,-0.022,1.1385,0.077), (1.5015,-0.0192,1.5345,0.0137), (1.5015,-0.0192,1.5345,0.154), (0.924,-0.0165,0.968,0.0275), (0.924,-0.0165,0.968,0.0275), (0.924,-0.0165,0.968,0.0275), (1.397,-0.0165,1.441,0.0275), (1.397,-0.0165,1.441,0.0275), (1.397,-0.0165,1.441,0.0275), (1.397,-0.0165,1.441,0.0275), (-0.66,0.022,-0.616,0.066), (-0.66,0.022,-0.616,0.066), (-0.66,0.022,-0.616,0.066), (0.6435,0.0605,1.1385,0.0935), (0.187,0.066,0.231,0.11), (0.363,0.066,0.407,0.11), (-0.4895,0.0715,-0.2805,0.1045), (-0.3135,0.0715,-0.1045,0.1045), (-0.1375,0.0715,0.2255,0.1045), (0.1925,0.0715,0.4015,0.1045), (0.517,0.1155,0.561,0.1595), (0.517,0.1155,0.561,0.1595), (0.517,0.1155,0.561,0.1595), (1.496,0.1155,1.54,0.1595), (1.1605,0.1182,1.2045,0.1622), (1.1605,0.1182,1.2045,0.1622), (1.5015,0.121,1.5372,0.154), (0.6105,0.143,0.6545,0.187), (0.7975,0.143,0.8415,0.187), (0.616,0.1485,0.836,0.1815), (0.0935,0.1815,0.1375,0.2255), (0.275,0.1815,0.319,0.2255), (0.9845,0.1815,1.0285,0.2255), (1.3365,0.1815,1.3805,0.2255), (0.44,0.187,0.484,0.231), (0.44,0.187,0.484,0.231), (0.44,0.187,0.484,0.231), (0.099,0.1925,0.3135,0.2255), (0.2805,0.1925,0.4235,0.2255), (0.3905,0.1925,0.4785,0.2255), (0.99,0.1952,1.375,0.2282), (-0.0495,0.22,-0.0055,0.264), (0.704,0.22,0.748,0.264), (0.891,0.22,0.935,0.264), (1.4245,0.22,1.4685,0.264), (-0.044,0.2255,-0.011,0.297), (0.7095,0.242,0.7425,0.2805), (0.8965,0.242,0.9295,0.2805), (1.43,0.242,1.463,0.2805), (-0.6545,0.264,-0.5445,0.297), (-0.5775,0.264,-0.3685,0.297), (-0.4015,0.264,-0.1925,0.297), (-0.2255,0.264,-0.011,0.297), (-0.044,0.264,0.4785,0.297), (0.4455,0.264,0.5252,0.297), (0.4922,0.264,0.7425,0.297), (0.7095,0.264,0.9295,0.297), (0.8965,0.264,1.155,0.297), (1.122,0.264,1.2375,0.297), (1.2045,0.264,1.419,0.297), (1.386,0.264,1.54,0.297), (1.43,0.264,1.54,0.297)])
R(c_8bit_csm__full_adder, via2, [(0.528,-0.176,0.55,-0.154), (1.507,-0.176,1.529,-0.154), (1.1715,-0.1705,1.1935,-0.1485), (-0.649,-0.1155,-0.627,-0.0935), (1.397,-0.0825,1.419,-0.0605), (1.397,-0.0825,1.419,-0.0605), (0.836,-0.077,0.858,-0.055), (0.935,-0.0055,0.957,0.0165), (1.408,-0.0055,1.43,0.0165), (-0.649,0.033,-0.627,0.055), (0.528,0.1265,0.55,0.1485), (1.507,0.1265,1.529,0.1485), (1.1715,0.1292,1.1935,0.1512), (0.451,0.198,0.473,0.22)])
R(c_8bit_csm__full_adder, metal3, [(0.517,-0.187,0.561,-0.143), (0.517,-0.187,0.561,-0.1375), (1.496,-0.187,1.54,-0.143), (1.1605,-0.1815,1.2045,-0.1375), (1.166,-0.1815,1.54,-0.1485), (1.507,-0.1815,1.54,-0.1485), (0.5225,-0.176,1.199,-0.143), (-0.66,-0.1265,-0.616,-0.0825), (-0.6545,-0.121,-0.6215,-0.0495), (1.386,-0.0935,1.43,-0.0495), (1.386,-0.0935,1.43,-0.0495), (0.825,-0.088,0.869,-0.044), (-0.6545,-0.0825,0.418,-0.0495), (0.385,-0.0825,0.748,-0.0495), (0.715,-0.0825,0.8635,-0.0495), (0.8305,-0.0825,1.4272,-0.0495), (0.924,-0.0165,0.968,0.0275), (1.397,-0.0165,1.441,0.0275), (-0.6545,-0.011,-0.6215,0.0605), (-0.6545,-0.011,0.418,0.022), (0.385,-0.011,0.9652,0.022), (0.9295,-0.011,1.4355,0.022), (-0.66,0.022,-0.616,0.066), (0.517,0.1155,0.561,0.1595), (1.496,0.1155,1.54,0.1595), (1.1605,0.1182,1.2045,0.1622), (0.5225,0.121,1.199,0.154), (1.166,0.121,1.54,0.154), (1.507,0.121,1.54,0.154), (1.507,0.121,1.54,0.154), (1.507,0.121,1.54,0.154), (0.44,0.187,0.484,0.231), (0.4455,0.198,1.54,0.231)])

lib.write_gds('8bit_CSM__full_adder.gds')
